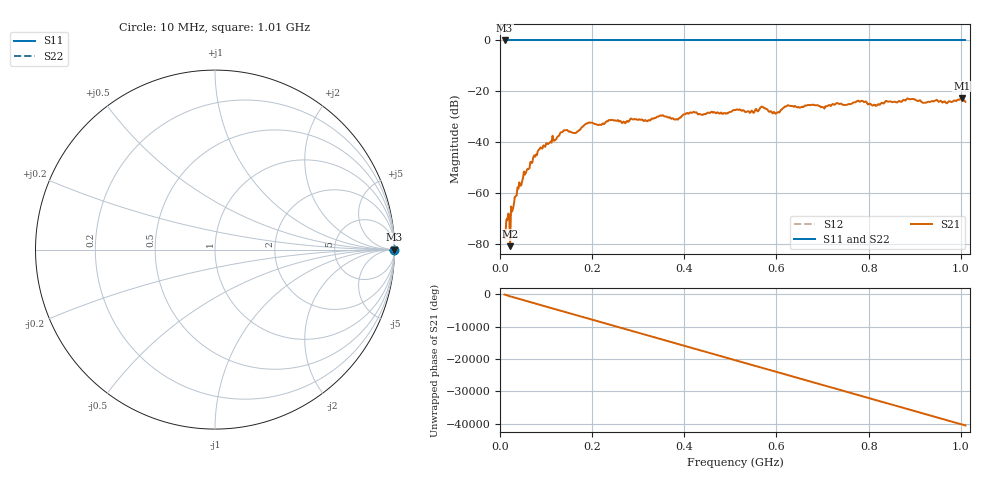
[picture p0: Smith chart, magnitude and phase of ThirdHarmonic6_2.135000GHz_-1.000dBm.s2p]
! 8/17/2025 1:30:43 AM
! C:\ANRITSUVNA\TEMP\TEMP.S2P
! CHANNEL.1
! TR.MEASUREMENT
! RAW.DATA
! RF.CORRECTION.OFF
! AVERAGING.OFF
! IF.BANDWIDTH: 5KHZ
! SWEEPTYPE:  FREQ.SWEEP(Linear)
! Reference Plane Port Info
! PORT:  PORT1  PORT2
! DISTANCE:  0  m  0  m
! TIME:  0  s  0  s
! PHASE.OFFSET:  0  deg.  0  deg.
! LOSS:  0  dB  0  dB
! REF.LOSS:  0  dB  0  dB
! REF.FREQ:  0  Hz  0  Hz
! Power Info
! POWER:  -20  dBm  -20  dBm
! EFF.POWER:  -20  dBm  -20  dBm
! SOURCE.ATTEN:  0  dB  0  dB
! TEST.ATTEN:  0  dB  0  dB
# GHZ S RI R 50.0
! FREQ.GHZ  S11RE  S11IM  S21RE  S21IM  S12RE  S12IM  S22RE  S22IM
!; PortSelection: Port_12
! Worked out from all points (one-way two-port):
!   501 points, 10 MHz to 1.01 GHz, reference 50 ohm
!   highest |S21| = -22.62 dB at 1.002 GHz (marker M1); lowest = -80.7 dB at 22 MHz (marker M2)
!   lowest |S11| = 0.0 dB at 10 MHz (marker M3)
!   |S11| at or under -10 dB: nowhere
!   |S22| runs from 0.0 to 0.0 dB; largest |S21 - S12| = 1.1
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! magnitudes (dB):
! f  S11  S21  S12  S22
! 10 MHz  0.0  -77.5  0.0  0.0
! 16 MHz  0.0  -70.4  0.0  0.0
! 22 MHz  0.0  -80.7  0.0  0.0
! 26 MHz  0.0  -67.2  0.0  0.0
! 28 MHz  0.0  -66.2  0.0  0.0
! 38 MHz  0.0  -57.6  0.0  0.0
! 86 MHz  0.0  -42.6  0.0  0.0
! 136 MHz  0.0  -35.9  0.0  0.0
! 162 MHz  0.0  -36.3  0.0  0.0
! 178 MHz  0.0  -34.0  0.0  0.0
! 344 MHz  0.0  -29.8  0.0  0.0
! 382 MHz  0.0  -30.9  0.0  0.0
! 416 MHz  0.0  -28.4  0.0  0.0
! 510 MHz  0.0  -27.4  0.0  0.0
! 546 MHz  0.0  -27.5  0.0  0.0
! 570 MHz  0.0  -26.0  0.0  0.0
! 602 MHz  0.0  -28.3  0.0  0.0
! 622 MHz  0.0  -25.7  0.0  0.0
! 678 MHz  0.0  -25.2  0.0  0.0
! 844 MHz  0.0  -24.0  0.0  0.0
! 1.002 GHz  0.0  -22.6  0.0  0.0
! 1.01 GHz  0.0  -24.1  0.0  0.0
